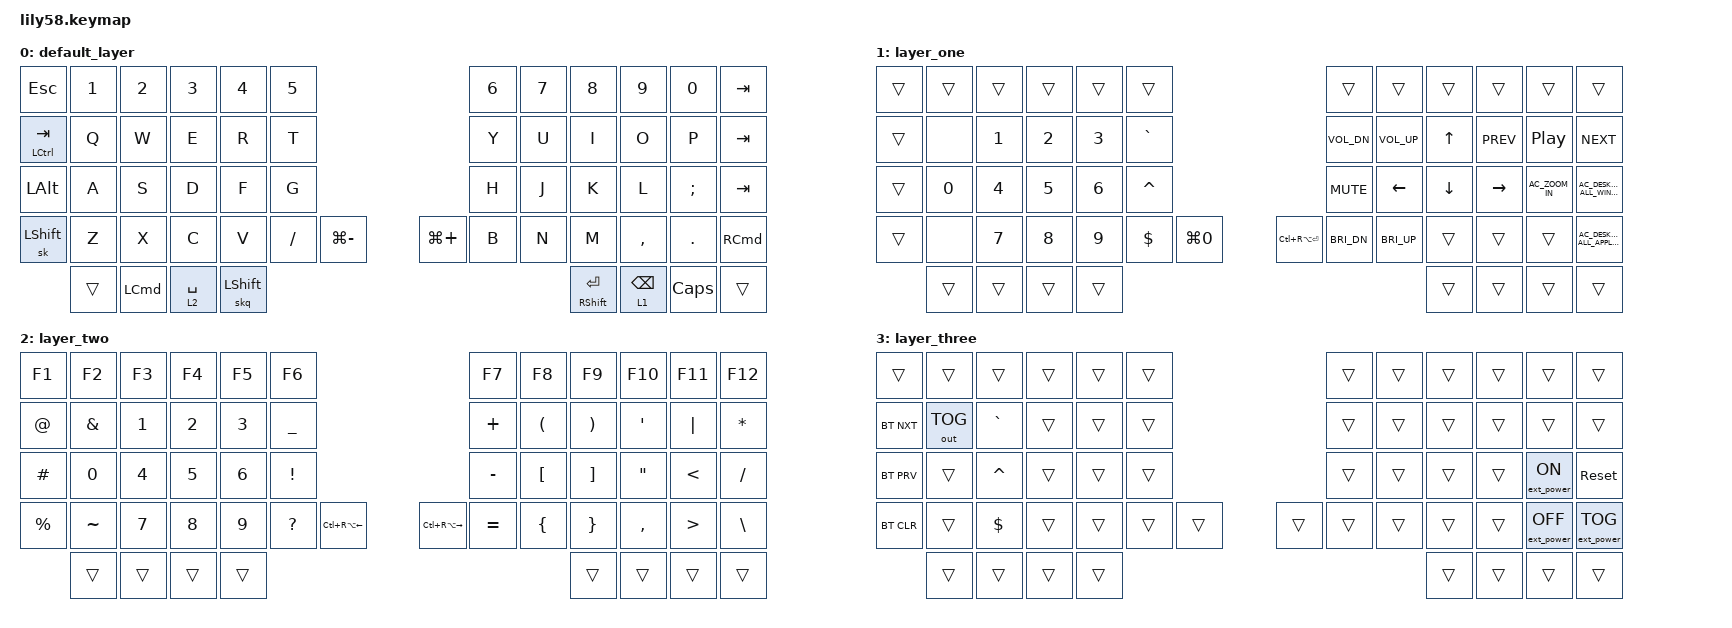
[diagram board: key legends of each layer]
/*
 * Copyright (c) 2020 The ZMK Contributors
 *
 * SPDX-License-Identifier: MIT
 */

#include <behaviors.dtsi>
#include <dt-bindings/zmk/keys.h>
#include <dt-bindings/zmk/bt.h>
#include <dt-bindings/zmk/ext_power.h>
#include <dt-bindings/zmk/outputs.h>

/ {
    conditional_layers {
        compatible = "zmk,conditional-layers";
        layer_three {
            if-layers = <1 2>;
            then-layer = <3>;
        };
    };



        behaviors{
         gqt: global-quick-tap {
                compatible = "zmk,behavior-hold-tap";
                label = "GLOBAL_QUICK_TAP";
                #binding-cells = <2>;
                flavor = "tap-preferred";
                tapping-term-ms = <90>; 
                quick-tap-ms = <0>;
                retro-tap;
                global-quick-tap;
                bindings = <&mo>, <&kp>;
                };


                skq: sticky_key_quick_release {
                compatible = "zmk,behavior-sticky-key";
                #binding-cells = <1>;
                bindings = <&kp>;
                release-after-ms = <1000>;
                quick-release;
                ignore-modifiers;
                };

                
        };
 };

// ADD TAP DANCE FOR SHIFT KEY THAT WHEN DOUBLE TAPPED TURNS INTO CAPS
/{
        keymap {
                compatible = "zmk,keymap";
                default_layer {
                         bindings = <
   &kp ESC          &kp N1 &kp N2 &kp N3 &kp N4 &kp N5                                  &kp N6 &kp N7 &kp N8 &kp N9     &kp N0     &kp TAB
   &mt LCTRL TAB    &kp Q  &kp W  &kp E  &kp R  &kp T                                   &kp Y  &kp U  &kp I  &kp O      &kp P      &kp TAB      
   &kp LALT         &kp A  &kp S  &kp D  &kp F  &kp G                                   &kp H  &kp J  &kp K  &kp L      &kp SEMI   &kp TAB
   &sk LSHFT        &kp Z  &kp X  &kp C  &kp V  &kp FSLH  &kp LG(MINUS)    &kp LG(PLUS) &kp B  &kp N  &kp M  &kp COMMA  &kp DOT    &kp RCMD   
                 &trans &kp LCMD  &gqt 2 SPACE  &skq LSHFT                              &mt RSHIFT RET   &gqt 1 BSPC  &kp CAPS  &trans                                
                        >;                                                                                     
                };                                                                                                       

                layer_one {  
                        bindings = <
   &trans  &trans  &trans  &trans  &trans  &trans                                         &trans        &trans        &trans    &trans      &trans             &trans              
   &trans  &none   &kp N1  &kp N2  &kp N3  &kp GRAVE                                      &kp C_VOL_DN  &kp C_VOL_UP  &kp UP    &kp C_PREV  &kp C_PP           &kp C_NEXT 
   &trans  &kp N0  &kp N4  &kp N5  &kp N6  &kp CARET                                      &kp C_MUTE    &kp LEFT      &kp DOWN  &kp RIGHT   &kp C_AC_ZOOM_IN   &kp C_AC_DESKTOP_SHOW_ALL_WINDOWS
   &trans  &none   &kp N7  &kp N8  &kp N9  &kp DLLR  &kp LG(NUMBER_0)     &kp LC(RA(RET)) &kp C_BRI_DN  &kp C_BRI_UP  &trans    &trans      &trans             &kp C_AC_DESKTOP_SHOW_ALL_APPLICATIONS
                   &trans &trans  &trans   &trans                                         &trans  &trans  &trans  &trans 
                        >;    
                };

                layer_two {
                        bindings = <
   &kp F1     &kp F2     &kp F3  &kp F4  &kp F5   &kp F6                                              &kp F7     &kp F8    &kp F9    &kp F10    &kp F11   &kp F12
   &kp AT     &kp AMPS   &kp N1  &kp N2  &kp N3   &kp UNDER                                           &kp PLUS   &kp LPAR  &kp RPAR  &kp APOS   &kp PIPE  &kp STAR 
   &kp HASH   &kp N0     &kp N4  &kp N5  &kp N6   &kp EXCL                                            &kp MINUS  &kp LBKT  &kp RBKT  &kp DQT    &kp LT    &kp FSLH
   &kp PRCNT  &kp TILDE  &kp N7  &kp N8  &kp N9   &kp QMARK  &kp LC(RA(LEFT))     &kp LC(RA(RIGHT))   &kp EQUAL  &kp LBRC  &kp RBRC  &kp COMMA  &kp GT    &kp BSLH
                          &trans &trans  &trans   &trans                                              &trans  &trans  &trans  &trans
                        >;
                };

                layer_three {
                        bindings = <
   &trans        &trans        &trans      &trans   &trans   &trans            &trans  &trans  &trans  &trans   &trans   &trans              
   &bt BT_NXT    &out OUT_TOG  &kp GRAVE   &trans   &trans   &trans            &trans  &trans  &trans  &trans   &trans   &trans 
   &bt BT_PRV    &trans        &kp CARET   &trans   &trans   &trans            &trans  &trans  &trans  &trans   &ext_power EP_ON   &sys_reset 
   &bt BT_CLR    &trans        &kp DLLR    &trans   &trans   &trans &trans     &trans  &trans  &trans  &trans   &trans    &ext_power EP_OFF  &ext_power EP_TOG  
                                      &trans &trans  &trans  &trans            &trans  &trans  &trans  &trans 
                        >;
                };                           
        };
};




